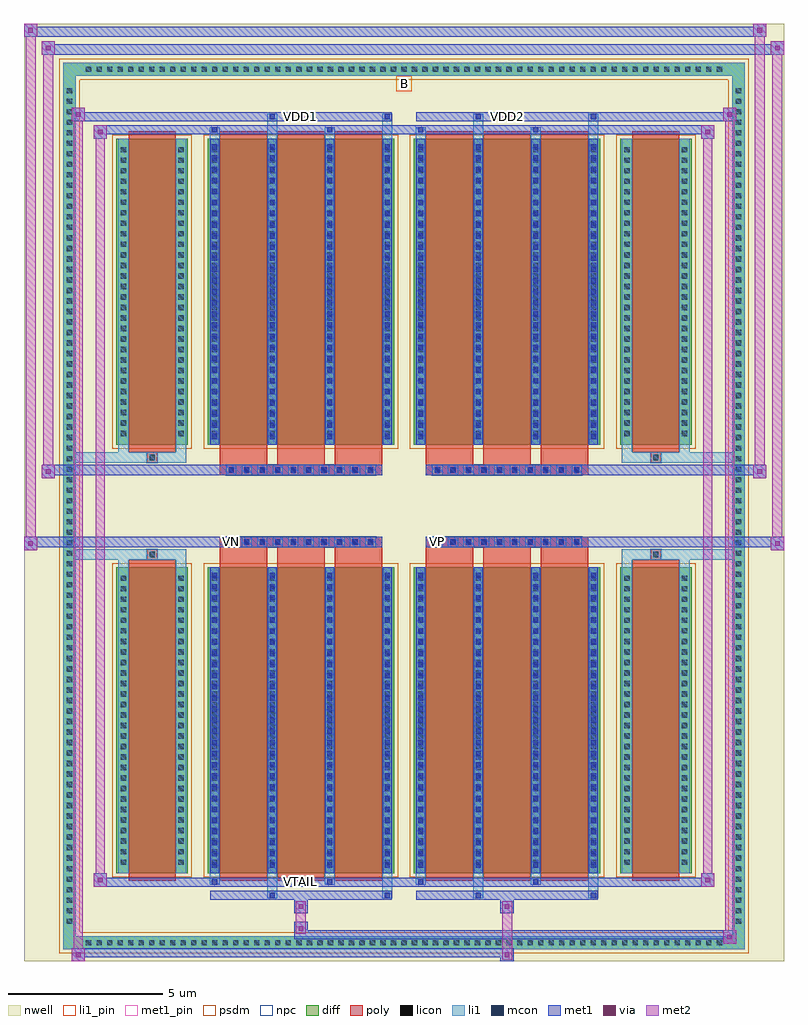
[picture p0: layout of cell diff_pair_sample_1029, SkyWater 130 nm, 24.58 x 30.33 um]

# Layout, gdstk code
import gdstk
lib = gdstk.Library(unit=1e-6, precision=5e-09)
def R(c, l, rs):  # rectangles x0, y0, x1, y1
    for r in rs: c.add(gdstk.rectangle(r[:2], r[2:], *l))
def A(c, l, x, y, w, h, nx, ny, dx, dy):  # array of equal rectangles
    R(c, l, [(x+i*dx, y+j*dy, x+i*dx+w, y+j*dy+h) for i in range(nx) for j in range(ny)])
def P(c, l, *ps):  # polygons
    for p in ps: c.add(gdstk.Polygon(p, *l))
nwell = (64, 20)
diff = (65, 20)
poly = (66, 20)
licon = (66, 44)
li1_pin = (67, 16)
li1 = (67, 20)
mcon = (67, 44)
met1_pin = (68, 16)
met1 = (68, 20)
via = (68, 44)
met2 = (69, 20)
psdm = (94, 20)
npc = (95, 20)

diff_pair_sample_1029 = lib.new_cell('diff_pair_sample_1029')
R(diff_pair_sample_1029, nwell, [(-12.29,-14.73,12.29,15.6), (-9.61,-12.92,-0.01,-0.8), (0.01,-12.92,9.61,-0.8), (-9.61,0.8,-0.01,12.92), (0.01,0.8,9.61,12.92)])
A(diff_pair_sample_1029, diff, -10.405, -14.33, 0.41, 0.41, 61, 2, 0.34, 28.25)
A(diff_pair_sample_1029, diff, -11.02, -13.635, 0.41, 0.41, 1, 80, 0, 0.34)
A(diff_pair_sample_1029, diff, 10.61, -13.635, 0.41, 0.41, 1, 80, 0, 0.34)
R(diff_pair_sample_1029, diff, [(-10.405,-14.33,10.405,-13.92), (-11.02,-13.635,-10.61,13.635), (10.61,-13.635,11.02,13.635), (-9.3,-11.875,-6.99,-1.985), (-6.35,-11.875,-0.32,-1.985), (0.32,-11.875,6.35,-1.985), (6.99,-11.875,9.3,-1.985), (-9.3,1.985,-6.99,11.875), (-6.35,1.985,-0.32,11.875), (0.32,1.985,6.35,11.875), (6.99,1.985,9.3,11.875), (-10.405,13.92,10.405,14.33)])
P(diff_pair_sample_1029, diff, [(11.02,14.33),(-11.02,14.33),(-11.02,-13.92),(-10.61,-13.92),(-10.61,13.92),(10.61,13.92),(10.61,-13.92),(-10.61,-13.92),(-11.02,-13.92),(-11.02,-14.33),(11.02,-14.33)])
A(diff_pair_sample_1029, poly, -5.96, -12.125, 1.53, 10.39, 3, 2, 1.86, 13.86)
A(diff_pair_sample_1029, poly, 0.71, -12.125, 1.53, 10.39, 3, 2, 1.86, 13.86)
A(diff_pair_sample_1029, poly, -5.96, -1.735, 1.53, 0.405, 3, 2, 1.86, 3.065)
A(diff_pair_sample_1029, poly, 0.71, -1.735, 1.53, 0.405, 3, 2, 1.86, 3.065)
A(diff_pair_sample_1029, poly, -5.75, -1.33, 0.33, 0.33, 10, 2, 0.5, 2.33)
A(diff_pair_sample_1029, poly, 0.92, -1.33, 0.33, 0.33, 10, 2, 0.5, 2.33)
R(diff_pair_sample_1029, poly, [(-8.91,-12.125,-7.38,-1.735), (7.38,-12.125,8.91,-1.735), (-8.31,-1.735,-7.98,-1.405), (-8.31,-1.735,-7.98,-1.405), (7.98,-1.735,8.31,-1.405), (7.98,-1.735,8.31,-1.405), (-5.96,-1.33,-0.71,-1), (0.71,-1.33,5.96,-1), (-5.96,1,-0.71,1.33), (0.71,1,5.96,1.33), (-8.31,1.405,-7.98,1.735), (-8.31,1.405,-7.98,1.735), (7.98,1.405,8.31,1.735), (7.98,1.405,8.31,1.735), (-8.91,1.735,-7.38,12.125), (7.38,1.735,8.91,12.125)])
A(diff_pair_sample_1029, licon, -10.285, -14.21, 0.17, 0.17, 61, 2, 0.34, 28.25)
A(diff_pair_sample_1029, licon, -10.9, -13.515, 0.17, 0.17, 1, 80, 0, 0.34)
A(diff_pair_sample_1029, licon, 10.73, -13.515, 0.17, 0.17, 1, 80, 0, 0.34)
A(diff_pair_sample_1029, licon, -9.16, -11.605, 0.17, 0.17, 1, 28, 0, 0.34)
A(diff_pair_sample_1029, licon, -7.3, -11.605, 0.17, 0.17, 1, 28, 0, 0.34)
A(diff_pair_sample_1029, licon, -6.21, -11.605, 0.17, 0.17, 4, 28, 1.86, 0.34)
A(diff_pair_sample_1029, licon, 0.46, -11.605, 0.17, 0.17, 4, 28, 1.86, 0.34)
A(diff_pair_sample_1029, licon, 7.13, -11.605, 0.17, 0.17, 1, 28, 0, 0.34)
A(diff_pair_sample_1029, licon, 8.99, -11.605, 0.17, 0.17, 1, 28, 0, 0.34)
A(diff_pair_sample_1029, licon, -5.67, -1.25, 0.17, 0.17, 10, 2, 0.5, 2.33)
A(diff_pair_sample_1029, licon, 1, -1.25, 0.17, 0.17, 10, 2, 0.5, 2.33)
A(diff_pair_sample_1029, licon, -9.16, 2.255, 0.17, 0.17, 1, 28, 0, 0.34)
A(diff_pair_sample_1029, licon, -7.3, 2.255, 0.17, 0.17, 1, 28, 0, 0.34)
A(diff_pair_sample_1029, licon, -6.21, 2.255, 0.17, 0.17, 4, 28, 1.86, 0.34)
A(diff_pair_sample_1029, licon, 0.46, 2.255, 0.17, 0.17, 4, 28, 1.86, 0.34)
A(diff_pair_sample_1029, licon, 7.13, 2.255, 0.17, 0.17, 1, 28, 0, 0.34)
A(diff_pair_sample_1029, licon, 8.99, 2.255, 0.17, 0.17, 1, 28, 0, 0.34)
R(diff_pair_sample_1029, licon, [(-8.23,-1.655,-8.06,-1.485), (8.06,-1.655,8.23,-1.485), (-8.23,1.485,-8.06,1.655), (8.06,1.485,8.23,1.655)])
R(diff_pair_sample_1029, li1_pin, [(-0.25,13.42,0.25,13.92)])
A(diff_pair_sample_1029, li1, -10.365, -14.29, 0.33, 0.33, 61, 2, 0.34, 28.25)
A(diff_pair_sample_1029, li1, -10.98, -13.595, 0.33, 0.33, 1, 80, 0, 0.34)
A(diff_pair_sample_1029, li1, 10.65, -13.595, 0.33, 0.33, 1, 80, 0, 0.34)
A(diff_pair_sample_1029, li1, -6.29, -11.875, 0.33, 9.89, 4, 2, 1.86, 13.86)
A(diff_pair_sample_1029, li1, 0.38, -11.875, 0.33, 9.89, 4, 2, 1.86, 13.86)
A(diff_pair_sample_1029, li1, -6.21, -11.695, 0.17, 0.17, 4, 27, 1.86, 0.36)
A(diff_pair_sample_1029, li1, -6.21, -11.695, 0.17, 9.53, 4, 2, 1.86, 13.86)
A(diff_pair_sample_1029, li1, 0.46, -11.695, 0.17, 0.17, 4, 27, 1.86, 0.36)
A(diff_pair_sample_1029, li1, 0.46, -11.695, 0.17, 9.53, 4, 2, 1.86, 13.86)
A(diff_pair_sample_1029, li1, -9.24, -11.685, 0.33, 0.33, 1, 28, 0, 0.34)
A(diff_pair_sample_1029, li1, -7.38, -11.685, 0.33, 0.33, 1, 28, 0, 0.34)
A(diff_pair_sample_1029, li1, -6.29, -11.685, 0.33, 0.33, 4, 28, 1.86, 0.34)
A(diff_pair_sample_1029, li1, 0.38, -11.685, 0.33, 0.33, 4, 28, 1.86, 0.34)
A(diff_pair_sample_1029, li1, 7.05, -11.685, 0.33, 0.33, 1, 28, 0, 0.34)
A(diff_pair_sample_1029, li1, 8.91, -11.685, 0.33, 0.33, 1, 28, 0, 0.34)
A(diff_pair_sample_1029, li1, -5.75, -1.33, 0.33, 0.33, 10, 2, 0.5, 2.33)
A(diff_pair_sample_1029, li1, 0.92, -1.33, 0.33, 0.33, 10, 2, 0.5, 2.33)
A(diff_pair_sample_1029, li1, -6.21, 2.165, 0.17, 0.17, 4, 27, 1.86, 0.36)
A(diff_pair_sample_1029, li1, 0.46, 2.165, 0.17, 0.17, 4, 27, 1.86, 0.36)
A(diff_pair_sample_1029, li1, -9.24, 2.175, 0.33, 0.33, 1, 28, 0, 0.34)
A(diff_pair_sample_1029, li1, -7.38, 2.175, 0.33, 0.33, 1, 28, 0, 0.34)
A(diff_pair_sample_1029, li1, -6.29, 2.175, 0.33, 0.33, 4, 28, 1.86, 0.34)
A(diff_pair_sample_1029, li1, 0.38, 2.175, 0.33, 0.33, 4, 28, 1.86, 0.34)
A(diff_pair_sample_1029, li1, 7.05, 2.175, 0.33, 0.33, 1, 28, 0, 0.34)
A(diff_pair_sample_1029, li1, 8.91, 2.175, 0.33, 0.33, 1, 28, 0, 0.34)
R(diff_pair_sample_1029, li1, [(-11.02,-14.33,-10.61,-13.92), (-11.02,-14.33,-10.61,-13.92), (-10.61,-14.33,10.61,-13.92), (10.61,-14.33,11.02,-13.92), (10.61,-14.33,11.02,-13.92), (-11.02,-13.92,-10.61,13.92), (10.61,-13.92,11.02,13.92), (-4.43,-12.68,-4.1,-11.875), (-4.35,-12.68,-4.18,-12.51), (-0.71,-12.68,-0.38,-11.875), (-0.63,-12.68,-0.46,-12.51), (2.24,-12.68,2.57,-11.875), (2.32,-12.68,2.49,-12.51), (5.96,-12.68,6.29,-11.875), (6.04,-12.68,6.21,-12.51), (-6.29,-12.25,-5.96,-11.875), (-6.21,-12.25,-6.04,-12.08), (-2.57,-12.25,-2.24,-11.875), (-2.49,-12.25,-2.32,-12.08), (0.38,-12.25,0.71,-11.875), (0.46,-12.25,0.63,-12.08), (4.1,-12.25,4.43,-11.875), (4.18,-12.25,4.35,-12.08), (-9.24,-11.875,-8.91,-1.985), (-7.38,-11.875,-7.05,-1.985), (7.05,-11.875,7.38,-1.985), (8.91,-11.875,9.24,-1.985), (-9.24,-1.985,-8.91,-1.405), (-7.38,-1.985,-7.05,-1.405), (7.05,-1.985,7.38,-1.405), (8.91,-1.985,9.24,-1.405), (-11.02,-1.735,-8.31,-1.405), (-9.24,-1.735,-8.31,-1.405), (-8.31,-1.735,-7.98,-1.405), (-7.98,-1.735,-7.05,-1.405), (7.05,-1.735,7.98,-1.405), (7.98,-1.735,8.31,-1.405), (7.98,-1.735,11.02,-1.405), (8.31,-1.735,9.24,-1.405), (-11.02,1.405,-8.31,1.735), (-9.24,1.405,-8.31,1.735), (-9.24,1.405,-8.91,1.985), (-8.31,1.405,-7.98,1.735), (-7.98,1.405,-7.05,1.735), (-7.38,1.405,-7.05,1.985), (7.05,1.405,7.98,1.735), (7.05,1.405,7.38,1.985), (7.98,1.405,8.31,1.735), (7.98,1.405,11.02,1.735), (8.31,1.405,9.24,1.735), (8.91,1.405,9.24,1.985), (-9.24,1.985,-8.91,11.875), (-7.38,1.985,-7.05,11.875), (7.05,1.985,7.38,11.875), (8.91,1.985,9.24,11.875), (-6.29,11.875,-5.96,12.25), (-4.43,11.875,-4.1,12.68), (-2.57,11.875,-2.24,12.25), (-0.71,11.875,-0.38,12.68), (0.38,11.875,0.71,12.25), (2.24,11.875,2.57,12.68), (4.1,11.875,4.43,12.25), (5.96,11.875,6.29,12.68), (-6.21,12.08,-6.04,12.25), (-2.49,12.08,-2.32,12.25), (0.46,12.08,0.63,12.25), (4.18,12.08,4.35,12.25), (-4.35,12.51,-4.18,12.68), (-0.63,12.51,-0.46,12.68), (2.32,12.51,2.49,12.68), (6.04,12.51,6.21,12.68), (-11.02,13.92,-10.61,14.33), (-11.02,13.92,-10.61,14.33), (-10.61,13.92,10.61,14.33), (10.61,13.92,11.02,14.33), (10.61,13.92,11.02,14.33)])
A(diff_pair_sample_1029, mcon, -6.21, -11.695, 0.17, 0.17, 4, 27, 1.86, 0.36)
A(diff_pair_sample_1029, mcon, 0.46, -11.695, 0.17, 0.17, 4, 27, 1.86, 0.36)
A(diff_pair_sample_1029, mcon, -5.67, -1.25, 0.17, 0.17, 10, 2, 0.5, 2.33)
A(diff_pair_sample_1029, mcon, 1, -1.25, 0.17, 0.17, 10, 2, 0.5, 2.33)
A(diff_pair_sample_1029, mcon, -6.21, 2.165, 0.17, 0.17, 4, 27, 1.86, 0.36)
A(diff_pair_sample_1029, mcon, 0.46, 2.165, 0.17, 0.17, 4, 27, 1.86, 0.36)
R(diff_pair_sample_1029, mcon, [(-4.35,-12.68,-4.18,-12.51), (-0.63,-12.68,-0.46,-12.51), (2.32,-12.68,2.49,-12.51), (6.04,-12.68,6.21,-12.51), (-6.21,-12.25,-6.04,-12.08), (-2.49,-12.25,-2.32,-12.08), (0.46,-12.25,0.63,-12.08), (4.18,-12.25,4.35,-12.08), (-6.21,12.08,-6.04,12.25), (-2.49,12.08,-2.32,12.25), (0.46,12.08,0.63,12.25), (4.18,12.08,4.35,12.25), (-4.35,12.51,-4.18,12.68), (-0.63,12.51,-0.46,12.68), (2.32,12.51,2.49,12.68), (6.04,12.51,6.21,12.68)])
R(diff_pair_sample_1029, met1_pin, [(-3.47,-12.29,-3.2,-12.02), (-5.72,-1.29,-5.45,-1.02), (0.95,-1.29,1.22,-1.02), (-3.47,12.47,-3.2,12.74), (3.2,12.47,3.47,12.74)])
A(diff_pair_sample_1029, met1, -6.27, -11.875, 0.29, 9.89, 4, 2, 1.86, 13.86)
A(diff_pair_sample_1029, met1, 0.4, -11.875, 0.29, 9.89, 4, 2, 1.86, 13.86)
A(diff_pair_sample_1029, met1, -6.27, -11.755, 0.29, 0.29, 4, 27, 1.86, 0.36)
A(diff_pair_sample_1029, met1, 0.4, -11.755, 0.29, 0.29, 4, 27, 1.86, 0.36)
A(diff_pair_sample_1029, met1, -5.73, -1.31, 0.29, 0.29, 10, 2, 0.5, 2.33)
A(diff_pair_sample_1029, met1, 0.94, -1.31, 0.29, 0.29, 10, 2, 0.5, 2.33)
A(diff_pair_sample_1029, met1, -6.27, 2.105, 0.29, 0.29, 4, 27, 1.86, 0.36)
A(diff_pair_sample_1029, met1, 0.4, 2.105, 0.29, 0.29, 4, 27, 1.86, 0.36)
R(diff_pair_sample_1029, met1, [(-10.75,-14.73,-10.32,-14.3), (3.12,-14.73,3.55,-14.3), (-10.75,-14.59,3.55,-14.3), (10.32,-14.16,10.75,-13.73), (-3.55,-14.02,10.75,-13.73), (-3.55,-13.88,-3.12,-13.45), (-3.55,-13.17,-3.12,-12.74), (3.12,-13.17,3.55,-12.74), (-6.27,-12.74,-0.4,-12.45), (-4.41,-12.74,-4.12,-12.45), (-0.69,-12.74,-0.4,-12.45), (0.4,-12.74,6.27,-12.45), (2.26,-12.74,2.55,-12.45), (5.98,-12.74,6.27,-12.45), (-10.04,-12.31,-9.61,-11.88), (-10.04,-12.31,-6.27,-12.02), (-6.27,-12.31,-5.98,-12.02), (-6.27,-12.31,-0.4,-12.02), (-2.55,-12.31,-2.26,-12.02), (-0.4,-12.31,0.4,-12.02), (0.4,-12.31,0.69,-12.02), (0.4,-12.31,6.27,-12.02), (4.12,-12.31,4.41,-12.02), (6.27,-12.31,10.04,-12.02), (9.61,-12.31,10.04,-11.88), (-12.29,-1.43,-11.86,-1), (11.86,-1.43,12.29,-1), (-12.29,-1.33,-0.71,-1), (-5.96,-1.33,-0.71,-1), (0.71,-1.33,5.96,-1), (0.71,-1.33,12.29,-1), (-11.72,0.9,-11.29,1.33), (11.29,0.9,11.72,1.33), (-11.72,1,-5.96,1.33), (-5.96,1,-0.71,1.33), (0.71,1,5.96,1.33), (5.96,1,11.72,1.33), (-10.04,11.88,-9.61,12.31), (9.61,11.88,10.04,12.31), (-10.04,12.02,-6.27,12.31), (-6.27,12.02,-5.98,12.31), (-6.27,12.02,-0.4,12.31), (-2.55,12.02,-2.26,12.31), (-0.4,12.02,0.4,12.31), (0.4,12.02,0.69,12.31), (0.4,12.02,6.27,12.31), (4.12,12.02,4.41,12.31), (6.27,12.02,10.04,12.31), (-10.75,12.45,-10.32,12.88), (-10.75,12.45,-6.27,12.74), (-6.27,12.45,-0.4,12.74), (-4.41,12.45,-4.12,12.74), (-0.69,12.45,-0.4,12.74), (0.4,12.45,6.27,12.74), (2.26,12.45,2.55,12.74), (5.98,12.45,6.27,12.74), (6.27,12.45,10.75,12.74), (10.32,12.45,10.75,12.88), (-11.72,14.6,-11.29,15.03), (-11.72,14.6,-9.61,14.93), (-9.61,14.6,9.61,14.93), (9.61,14.6,12.29,14.93), (11.86,14.6,12.29,15.03), (-12.29,15.17,-11.86,15.6), (-12.29,15.17,-9.61,15.5), (-9.61,15.17,9.61,15.5), (9.61,15.17,11.72,15.5), (11.29,15.17,11.72,15.6)])
R(diff_pair_sample_1029, via, [(-10.61,-14.59,-10.46,-14.44), (3.26,-14.59,3.41,-14.44), (10.46,-14.02,10.61,-13.87), (-3.41,-13.74,-3.26,-13.59), (-3.41,-13.03,-3.26,-12.88), (3.26,-13.03,3.41,-12.88), (-9.9,-12.17,-9.75,-12.02), (9.75,-12.17,9.9,-12.02), (-12.15,-1.29,-12,-1.14), (12,-1.29,12.15,-1.14), (-11.58,1.04,-11.43,1.19), (11.43,1.04,11.58,1.19), (-9.9,12.02,-9.75,12.17), (9.75,12.02,9.9,12.17), (-10.61,12.59,-10.46,12.74), (10.46,12.59,10.61,12.74), (-11.58,14.74,-11.43,14.89), (12,14.74,12.15,14.89), (-12.15,15.31,-12,15.46), (11.43,15.31,11.58,15.46)])
R(diff_pair_sample_1029, met2, [(-10.75,-14.73,-10.32,-14.3), (-10.68,-14.73,-10.39,12.88), (-10.39,-14.73,-10.32,-14.3), (-10.7,-14.68,-10.37,-14.35), (3.17,-14.68,3.5,-14.35), (3.17,-14.35,3.5,-13.12), (10.32,-14.16,10.75,-13.73), (10.39,-14.16,10.68,12.88), (10.68,-14.16,10.75,-13.73), (10.37,-14.11,10.7,-13.78), (-3.5,-13.83,-3.17,-13.5), (-3.5,-13.5,-3.17,-13.12), (-3.5,-13.12,-3.17,-12.79), (3.17,-13.12,3.5,-12.79), (-10.04,-12.31,-9.61,-11.88), (-9.97,-12.31,-9.68,12.31), (-9.68,-12.31,-9.61,-11.88), (9.61,-12.31,10.04,-11.88), (9.68,-12.31,9.97,12.31), (9.97,-12.31,10.04,-11.88), (-9.99,-12.26,-9.66,-11.93), (9.66,-12.26,9.99,-11.93), (-12.29,-1.43,-11.86,-1), (-12.24,-1.43,-11.91,15.6), (-11.91,-1.43,-11.86,-1), (11.86,-1.43,12.29,-1), (11.91,-1.43,12.24,15.03), (12.24,-1.43,12.29,-1), (-12.24,-1.38,-11.91,-1.05), (11.91,-1.38,12.24,-1.05), (-11.72,0.9,-11.29,1.33), (-11.67,0.9,-11.34,15.03), (-11.34,0.9,-11.29,1.33), (11.29,0.9,11.72,1.33), (11.34,0.9,11.67,15.6), (11.67,0.9,11.72,1.33), (-11.67,0.95,-11.34,1.28), (11.34,0.95,11.67,1.28), (-10.04,11.88,-9.61,12.31), (-9.68,11.88,-9.61,12.31), (9.61,11.88,10.04,12.31), (9.97,11.88,10.04,12.31), (-9.99,11.93,-9.66,12.26), (9.66,11.93,9.99,12.26), (-10.75,12.45,-10.32,12.88), (-10.39,12.45,-10.32,12.88), (10.32,12.45,10.75,12.88), (10.68,12.45,10.75,12.88), (-10.7,12.5,-10.37,12.83), (10.37,12.5,10.7,12.83), (-11.72,14.6,-11.29,15.03), (-11.34,14.6,-11.29,15.03), (11.86,14.6,12.29,15.03), (12.24,14.6,12.29,15.03), (-11.67,14.65,-11.34,14.98), (11.91,14.65,12.24,14.98), (-12.29,15.17,-11.86,15.6), (-11.91,15.17,-11.86,15.6), (11.29,15.17,11.72,15.6), (11.67,15.17,11.72,15.6), (-12.24,15.22,-11.91,15.55), (11.34,15.22,11.67,15.55)])
R(diff_pair_sample_1029, psdm, [(-9.43,-12.005,-6.86,-1.855), (-6.48,-12.005,-0.19,-1.855), (0.19,-12.005,6.48,-1.855), (6.86,-12.005,9.43,-1.855), (-9.43,1.855,-6.86,12.005), (-6.48,1.855,-0.19,12.005), (0.19,1.855,6.48,12.005), (6.86,1.855,9.43,12.005)])
P(diff_pair_sample_1029, psdm, [(11.15,14.46),(-11.15,14.46),(-11.15,-13.79),(-10.48,-13.79),(-10.48,13.79),(10.48,13.79),(10.48,-13.79),(-10.48,-13.79),(-11.15,-13.79),(-11.15,-14.46),(11.15,-14.46)])
A(diff_pair_sample_1029, npc, -5.77, -1.35, 0.37, 0.37, 10, 2, 0.5, 2.33)
A(diff_pair_sample_1029, npc, 0.9, -1.35, 0.37, 0.37, 10, 2, 0.5, 2.33)
R(diff_pair_sample_1029, npc, [(-8.33,-1.755,-7.96,-1.385), (7.96,-1.755,8.33,-1.385), (-5.77,-1.35,-4.9,-0.98), (-5.77,-1.35,-4.9,-0.98), (-5.27,-1.35,-4.4,-0.98), (-5.27,-1.35,-4.4,-0.98), (-4.77,-1.35,-3.9,-0.98), (-4.77,-1.35,-3.9,-0.98), (-4.27,-1.35,-3.4,-0.98), (-4.27,-1.35,-3.4,-0.98), (-3.77,-1.35,-2.9,-0.98), (-3.77,-1.35,-2.9,-0.98), (-3.27,-1.35,-2.4,-0.98), (-3.27,-1.35,-2.4,-0.98), (-2.77,-1.35,-1.9,-0.98), (-2.77,-1.35,-1.9,-0.98), (-2.27,-1.35,-1.4,-0.98), (-2.27,-1.35,-1.4,-0.98), (-1.77,-1.35,-0.9,-0.98), (-1.77,-1.35,-0.9,-0.98), (0.9,-1.35,1.77,-0.98), (0.9,-1.35,1.77,-0.98), (1.4,-1.35,2.27,-0.98), (1.4,-1.35,2.27,-0.98), (1.9,-1.35,2.77,-0.98), (1.9,-1.35,2.77,-0.98), (2.4,-1.35,3.27,-0.98), (2.4,-1.35,3.27,-0.98), (2.9,-1.35,3.77,-0.98), (2.9,-1.35,3.77,-0.98), (3.4,-1.35,4.27,-0.98), (3.4,-1.35,4.27,-0.98), (3.9,-1.35,4.77,-0.98), (3.9,-1.35,4.77,-0.98), (4.4,-1.35,5.27,-0.98), (4.4,-1.35,5.27,-0.98), (4.9,-1.35,5.77,-0.98), (4.9,-1.35,5.77,-0.98), (-5.77,0.98,-4.9,1.35), (-5.77,0.98,-4.9,1.35), (-5.27,0.98,-4.4,1.35), (-5.27,0.98,-4.4,1.35), (-4.77,0.98,-3.9,1.35), (-4.77,0.98,-3.9,1.35), (-4.27,0.98,-3.4,1.35), (-4.27,0.98,-3.4,1.35), (-3.77,0.98,-2.9,1.35), (-3.77,0.98,-2.9,1.35), (-3.27,0.98,-2.4,1.35), (-3.27,0.98,-2.4,1.35), (-2.77,0.98,-1.9,1.35), (-2.77,0.98,-1.9,1.35), (-2.27,0.98,-1.4,1.35), (-2.27,0.98,-1.4,1.35), (-1.77,0.98,-0.9,1.35), (-1.77,0.98,-0.9,1.35), (0.9,0.98,1.77,1.35), (0.9,0.98,1.77,1.35), (1.4,0.98,2.27,1.35), (1.4,0.98,2.27,1.35), (1.9,0.98,2.77,1.35), (1.9,0.98,2.77,1.35), (2.4,0.98,3.27,1.35), (2.4,0.98,3.27,1.35), (2.9,0.98,3.77,1.35), (2.9,0.98,3.77,1.35), (3.4,0.98,4.27,1.35), (3.4,0.98,4.27,1.35), (3.9,0.98,4.77,1.35), (3.9,0.98,4.77,1.35), (4.4,0.98,5.27,1.35), (4.4,0.98,5.27,1.35), (4.9,0.98,5.77,1.35), (4.9,0.98,5.77,1.35), (-8.33,1.385,-7.96,1.755), (7.96,1.385,8.33,1.755)])
diff_pair_sample_1029.add(gdstk.Label('VTAIL', (-3.335,-12.155), layer=68, texttype=5))
diff_pair_sample_1029.add(gdstk.Label('VN', (-5.585,-1.155), layer=68, texttype=5))
diff_pair_sample_1029.add(gdstk.Label('VP', (1.085,-1.155), layer=68, texttype=5))
diff_pair_sample_1029.add(gdstk.Label('B', (0,13.67), layer=67, texttype=5))
diff_pair_sample_1029.add(gdstk.Label('VDD2', (3.335,12.605), layer=68, texttype=5))
diff_pair_sample_1029.add(gdstk.Label('VDD1', (-3.335,12.605), layer=68, texttype=5))

lib.write_gds('diff_pair_sample_1029.gds')
